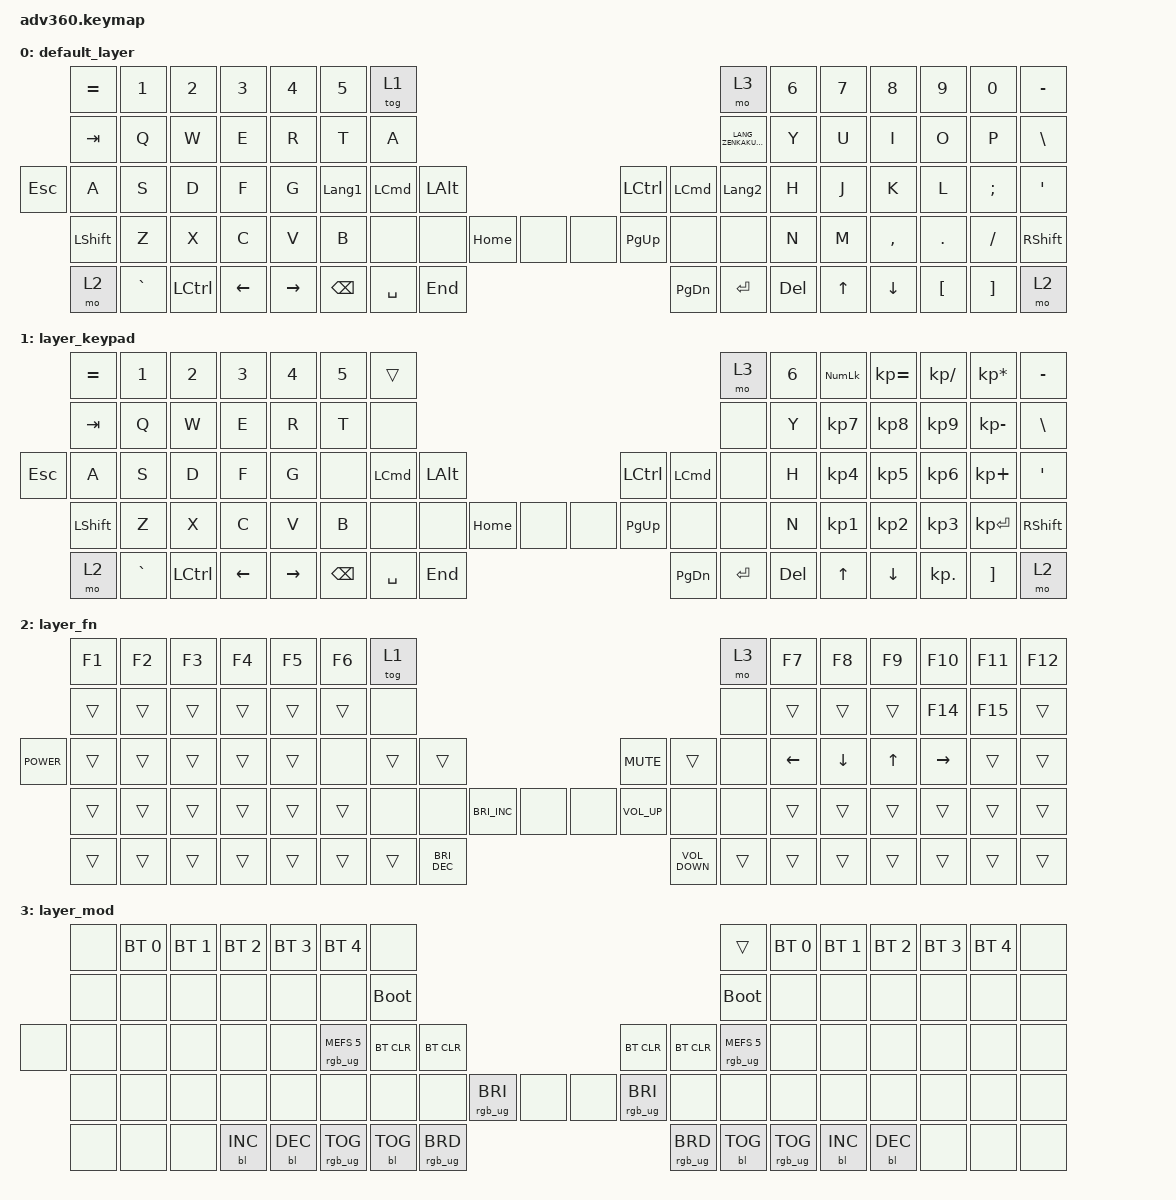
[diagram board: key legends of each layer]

/*
 * Copyright (c) 2020 The ZMK Contributors
 *
 * SPDX-License-Identifier: MIT
 */


/* THIS FILE WAS GENERATED!
 *
 * This file was generated automatically. You may or may not want to
 * edit it directly.
 */

#include <behaviors.dtsi>
#include <dt-bindings/zmk/keys.h>
#include <dt-bindings/zmk/bt.h>
#include <dt-bindings/zmk/rgb.h>
#include <dt-bindings/zmk/backlight.h>

/ {
  behaviors {
    #include "macros.dtsi"

    hm: homerow_mods {
        compatible = "zmk,behavior-hold-tap";
        label = "HOMEROW_MODS";
        #binding-cells = <2>;
        tapping-term-ms = <200>;
        quick_tap_ms = <175>;
        flavor = "tap-preferred";
        bindings = <&kp>, <&kp>;
    };
  };

    keymap {
        compatible = "zmk,keymap";


        default_layer {
            bindings = <
 &kp EQUAL     &kp N1            &kp N2    &kp N3     &kp N4  &kp N5                    &tog 1                                                                                                        &mo 3  &kp N6  &kp N7     &kp N8    &kp N9    &kp N0  &kp MINUS
   &kp TAB      &kp Q             &kp W     &kp E      &kp R   &kp T                     &kp A                                                                                      &kp LANG_ZENKAKUHANKAKU   &kp Y   &kp U      &kp I     &kp O     &kp P   &kp BSLH
   &kp ESC      &kp A             &kp S     &kp D      &kp F   &kp G            &kp LANGUAGE_1  &kp LEFT_COMMAND  &kp LEFT_ALT                  &kp LEFT_CONTROL  &kp LEFT_COMMAND           &kp LANGUAGE_2   &kp H   &kp J      &kp K     &kp L  &kp SEMI    &kp SQT
 &kp LSHFT      &kp Z             &kp X     &kp C      &kp V   &kp B                     &none             &none      &kp HOME   &none   &none         &kp PG_UP             &none                    &none   &kp N   &kp M  &kp COMMA   &kp DOT  &kp FSLH  &kp RSHFT
     &mo 2  &kp GRAVE  &kp LEFT_CONTROL  &kp LEFT  &kp RIGHT                          &kp BSPC         &kp SPACE       &kp END                         &kp PG_DN         &kp ENTER               &kp DELETE          &kp UP   &kp DOWN  &kp LBKT  &kp RBKT      &mo 2
            >;
        };

        layer_keypad {
            bindings = <
 &kp EQUAL     &kp N1            &kp N2    &kp N3     &kp N4  &kp N5              &trans                                                                                           &mo 3  &kp N6  &kp KP_NUM  &kp KP_EQUAL  &kp KP_DIVIDE  &kp KP_MULTIPLY  &kp MINUS
   &kp TAB      &kp Q             &kp W     &kp E      &kp R   &kp T               &none                                                                                           &none   &kp Y   &kp KP_N7     &kp KP_N8      &kp KP_N9     &kp KP_MINUS   &kp BSLH
   &kp ESC      &kp A             &kp S     &kp D      &kp F   &kp G               &none  &kp LEFT_COMMAND  &kp LEFT_ALT                  &kp LEFT_CONTROL  &kp LEFT_COMMAND       &none   &kp H   &kp KP_N4     &kp KP_N5      &kp KP_N6      &kp KP_PLUS    &kp SQT
 &kp LSHFT      &kp Z             &kp X     &kp C      &kp V   &kp B               &none             &none      &kp HOME   &none   &none         &kp PG_UP             &none       &none   &kp N   &kp KP_N1     &kp KP_N2      &kp KP_N3     &kp KP_ENTER  &kp RSHFT
     &mo 2  &kp GRAVE  &kp LEFT_CONTROL  &kp LEFT  &kp RIGHT                    &kp BSPC         &kp SPACE       &kp END                         &kp PG_DN         &kp ENTER  &kp DELETE              &kp UP      &kp DOWN     &kp KP_DOT         &kp RBKT      &mo 2
            >;
        };

        layer_fn {
            bindings = <
      &kp F1  &kp F2  &kp F3  &kp F4  &kp F5  &kp F6            &tog 1                                                                            &mo 3          &kp F7          &kp F8        &kp F9          &kp F10  &kp F11  &kp F12
      &trans  &trans  &trans  &trans  &trans  &trans             &none                                                                            &none          &trans          &trans        &trans          &kp F14  &kp F15   &trans
 &kp C_POWER  &trans  &trans  &trans  &trans  &trans             &none  &trans                &trans                         &kp C_MUTE  &trans   &none  &kp LEFT_ARROW  &kp DOWN_ARROW  &kp UP_ARROW  &kp RIGHT_ARROW   &trans   &trans
      &trans  &trans  &trans  &trans  &trans  &trans             &none   &none  &kp C_BRIGHTNESS_INC   &none   &none       &kp C_VOL_UP   &none   &none          &trans          &trans        &trans           &trans   &trans   &trans
      &trans  &trans  &trans  &trans  &trans                    &trans  &trans  &kp C_BRIGHTNESS_DEC                  &kp C_VOLUME_DOWN  &trans  &trans                          &trans        &trans           &trans   &trans   &trans
            >;
        };

        layer_mod {
            bindings = <
  &none  &bt BT_SEL 0  &bt BT_SEL 1  &bt BT_SEL 2  &bt BT_SEL 3  &bt BT_SEL 4                             &none                                                                                            &trans  &bt BT_SEL 0  &bt BT_SEL 1  &bt BT_SEL 2  &bt BT_SEL 3  &bt BT_SEL 4   &none
  &none         &none         &none         &none         &none         &none                       &bootloader                                                                                       &bootloader         &none         &none         &none         &none         &none   &none
  &none         &none         &none         &none         &none         &none            &rgb_ug RGB_MEFS_CMD 5  &bt BT_CLR       &bt BT_CLR                       &bt BT_CLR  &bt BT_CLR  &rgb_ug RGB_MEFS_CMD 5         &none         &none         &none         &none         &none   &none
  &none         &none         &none         &none         &none         &none                             &none       &none  &rgb_ug RGB_BRI   &none   &none  &rgb_ug RGB_BRI       &none                   &none         &none         &none         &none         &none         &none   &none
  &none         &none         &none    &bl BL_INC    &bl BL_DEC                                 &rgb_ug RGB_TOG  &bl BL_TOG  &rgb_ug RGB_BRD                  &rgb_ug RGB_BRD  &bl BL_TOG         &rgb_ug RGB_TOG                  &bl BL_INC    &bl BL_DEC         &none         &none   &none
            >;
        };

    };
};
